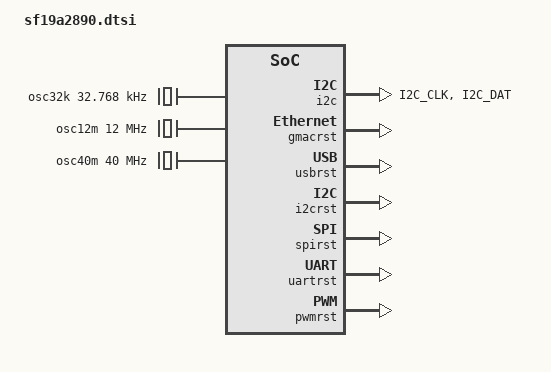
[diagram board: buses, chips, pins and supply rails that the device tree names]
#include <dt-bindings/clock/siflower,sf19a2890-clk.h>
#include <dt-bindings/gpio/gpio.h>
#include <dt-bindings/interrupt-controller/irq.h>
#include <dt-bindings/interrupt-controller/mips-gic.h>

/ {
	compatible = "siflower,sf19a2890";
	#address-cells = <1>;
	#size-cells = <1>;


	aliases {
		serial0 = &uart0;
		serial1 = &uart1;
		serial2 = &uart2;
	};

	chosen {
		bootargs = "earlycon";
	};

	reserved-memory {
		#address-cells = <1>;
		#size-cells = <1>;
		ranges;

		wlan24_dsp: wlandsp@1f00000 {
			reg = <0x01f00000 0x200000>;
		};

		wlan5_dsp: wlandsp@2100000 {
			reg = <0x02100000 0x200000>;
		};
	};

	cpus {
		#address-cells = <1>;
		#size-cells = <0>;

		cpu@0 {
			device_type = "cpu";
			compatible = "mti,interaptiv";
			reg = <0>;
			clocks = <&clk CLK_MUXDIV_CPU>;
			clock-names = "cpu";
			clock-latency = <0>;
		};

		cpu@1 {
			device_type = "cpu";
			compatible = "mti,interaptiv";
			reg = <1>;
			clocks = <&clk CLK_MUXDIV_CPU>;
			clock-names = "cpu";
			clock-latency = <0>;
		};
		cpu@2 {
			device_type = "cpu";
			compatible = "mti,interaptiv";
			reg = <2>;
			clocks = <&clk CLK_MUXDIV_CPU>;
			clock-names = "cpu";
			clock-latency = <0>;
		};
		cpu@3 {
			device_type = "cpu";
			compatible = "mti,interaptiv";
			reg = <3>;
			clocks = <&clk CLK_MUXDIV_CPU>;
			clock-names = "cpu";
			clock-latency = <0>;
		};
	};

	osc32k: oscillator-32k {
		compatible = "fixed-clock";
		clock-frequency = <32768>;
		#clock-cells = <0>;
		clock-output-names = "osc32k";
	};

	osc12m: oscillator-12m {
		compatible = "fixed-clock";
		clock-frequency = <12000000>;
		#clock-cells = <0>;
		clock-output-names = "osc12m";
	};

	osc40m: oscillator-40m {
		compatible = "fixed-clock";
		clock-frequency = <40000000>;
		#clock-cells = <0>;
		clock-output-names = "osc40m";
	};

	soc {
		#address-cells = <1>;
		#size-cells = <1>;
		compatible = "simple-bus";
		ranges;
		interrupt-parent = <&gic>;

		gmac: ethernet@10800000 {
			compatible = "siflower,sf19a2890-gmac", "snps,dwmac";
			reg = <0x10800000 0x200000>,
				<0x19e04440 0x10>;
			interrupts = <GIC_SHARED 32 IRQ_TYPE_LEVEL_HIGH>,
					<GIC_SHARED 34 IRQ_TYPE_LEVEL_HIGH>,
					<GIC_SHARED 33 IRQ_TYPE_LEVEL_HIGH>;
			interrupt-names = "macirq", "eth_wake_irq", "eth_lpi";
			clocks = <&gmacclk 0>, <&gmacclk 1>, <&gmacclk 3>, <&gmacclk 2>;
			clock-names = "stmmaceth", "pclk", "ptp_ref", "gmac_byp_ref";
			resets = <&gmacrst 0>;
			reset-names = "stmmaceth";
			pinctrl-names = "default";
			pinctrl-0 = <&rgmii_pins>, <&mdio_pins>;
			status = "disabled";

			mdio: mdio {
				compatible = "snps,dwmac-mdio";
				#address-cells = <1>;
				#size-cells = <0>;
			};
		};

		wlan_rf: phy@11c00000{
			compatible = "siflower,sf19a2890-rf";
			reg = <0x11c00000 0x600000>;
			interrupts = <GIC_SHARED 187 IRQ_TYPE_LEVEL_HIGH>;
			clocks = <&rfclk 1>, <&rfclk 2>, <&rfclk 3>;
			clock-names = "axi", "boot", "lp";
			resets = <&rfrst 0>;
			pinctrl-names = "default";
			pinctrl-0 = <&wlan_pins>;
			status = "disabled";
		};

		usb: usb@17000000 {
			compatible = "siflower,sf19a2890-usb";
			reg = <0x17000000 0x40000>;
			interrupts = <GIC_SHARED 128 IRQ_TYPE_LEVEL_HIGH>;
			clocks = <&usbclk 0>;
			clock-names = "otg";
			resets = <&usbrst 0>;
			reset-names = "dwc2";
			dr_mode = "otg";
			phys = <&usb_phy>;
			phy-names = "usb2-phy";
			g-np-tx-fifo-size = <768>;
			status = "disabled";
		};

		i2c: i2c@18100000 {
			compatible = "snps,designware-i2c";
			reg = <0x18100000 0x1000>;
			interrupts = <GIC_SHARED 217 IRQ_TYPE_LEVEL_HIGH>;
			clocks = <&i2cclk 0>;
			clock-names = "ref";
			resets = <&i2crst 0>;
			pinctrl-names = "default";
			pinctrl-0 = <&i2c0_pins>;
		};

		spi: spi@18202000 {
			compatible = "arm,pl022", "arm,primecell";
			reg = <0x18202000 0x1000>;
			cs-gpios = <&gpio 8 GPIO_ACTIVE_LOW>;
			clocks = <&spiclk 1>, <&spiclk 0>;
			clock-names = "sspclk", "apb_pclk";
			interrupts = <GIC_SHARED 225 IRQ_TYPE_LEVEL_HIGH>;
			resets = <&spirst 0>;
			#address-cells = <1>;
			#size-cells = <0>;
			pinctrl-names = "default";
			pinctrl-0 = <&spi_pins>;
			status = "disabled";
		};

		uart0: serial@18300000 {
			compatible = "arm,pl011", "arm,primecell";
			reg = <0x18300000 0x1000>;
			interrupts = <GIC_SHARED 226 IRQ_TYPE_LEVEL_HIGH>;
			clocks = <&uartclk 3>, <&uartclk 0>;
			clock-names = "uartclk", "apb_pclk";
			resets = <&uartrst 0>;
			pinctrl-names = "default";
			pinctrl-0 = <&uart0_pins>;
			status = "disabled";
		};

		uart1: serial@18301000 {
			compatible = "arm,pl011", "arm,primecell";
			reg = <0x18301000 0x1000>;
			interrupts = <GIC_SHARED 227 IRQ_TYPE_LEVEL_HIGH>;
			clocks = <&uartclk 4>, <&uartclk 1>;
			clock-names = "uartclk", "apb_pclk";
			resets = <&uartrst 1>;
			pinctrl-names = "default";
			pinctrl-0 = <&uart1_pins>;
			status = "disabled";
		};

		uart2: serial@18302000 {
			compatible = "arm,pl011", "arm,primecell";
			reg = <0x18302000 0x1000>;
			interrupts = <GIC_SHARED 228 IRQ_TYPE_LEVEL_HIGH>;
			clocks = <&uartclk 5>, <&uartclk 2>;
			clock-names = "uartclk", "apb_pclk";
			resets = <&uartrst 2>;
			pinctrl-names = "default";
			pinctrl-0 = <&uart2_pins>;
			status = "disabled";
		};

		watchdog: watchdog@18700000 {
			compatible = "snps,dw-wdt";
			reg = <0x18700000 0x1000>;
			interrupts = <GIC_SHARED 238 IRQ_TYPE_LEVEL_HIGH>;
			clocks = <&wdtclk 0>;
			resets = <&wdtrst 0>;
		};

		gpio: gpio@19d00000 {
			compatible = "siflower,sf19a2890-gpio";
			reg=<0x19d00000 0x100000>;
			interrupts = <GIC_SHARED 246 IRQ_TYPE_LEVEL_HIGH>,
				     <GIC_SHARED 247 IRQ_TYPE_LEVEL_HIGH>,
				     <GIC_SHARED 248 IRQ_TYPE_LEVEL_HIGH>,
				     <GIC_SHARED 249 IRQ_TYPE_LEVEL_HIGH>;
			clocks = <&gpioclk 0>;
			resets = <&gpiorst 0>;

			gpio-controller;
			#gpio-cells = <2>;
			gpio-ranges = <&pinctrl 0 0 49>;

			interrupt-controller;
			#interrupt-cells = <2>;
		};

		clk: clock-controller@19e01000 {
			compatible = "siflower,sf19a2890-clk";
			reg = <0x19e01000 0x800>;
			clocks = <&osc12m>, <&osc40m>;
			clock-names = "osc12m", "osc40m";
			#clock-cells = <1>;
		};

		brom_sysm: syscon@19e02000 {
			compatible = "syscon", "simple-mfd";
			reg = <0x19e02000 0x100>;

			reboot {
				compatible = "syscon-reboot";
				offset = <0x30>;
				value = <0x1>;
			};
		};

		gmacrst: reset-controller@19e04400 {
			compatible = "siflower,sf19a2890-periph-reset";
			reg = <0x19e04400 0x4>;
			#reset-cells = <1>;
			siflower,reset-masks = <0x3>;
		};

		gmacclk: clock-controller@19e04404 {
			compatible = "siflower,sf19a2890-periph-clk";
			reg = <0x19e04404 0xc>;
			clocks = <&clk CLK_MUXDIV_BUS1>, <&clk CLK_MUXDIV_CPU>, <&clk CLK_MUXDIV_GMAC_BYP_REF>, <&clk CLK_MUXDIV_ETH_TSU>;
			clock-output-names = "gmac", "gmac_pclk", "gmac_byp_ref", "ethtsu";
			#clock-cells = <1>;
		};

		wlan24rst: reset-controller@19e08000 {
			compatible = "siflower,sf19a2890-periph-reset";
			reg = <0x19e08000 0x4>;
			#reset-cells = <1>;
			siflower,reset-masks = <0x7>;
		};

		wlan24clk: clock-controller@19e08004 {
			compatible = "siflower,sf19a2890-periph-clk";
			reg = <0x19e08004 0xc>;
			clocks = <&clk CLK_MUXDIV_CPU>, <&clk CLK_MUXDIV_BUS2>, <&clk CLK_MUXDIV_WLAN24_PLF>;
			clock-output-names = "wlan24_axis", "wlan24_axim", "wlan24_plf";
			#clock-cells = <1>;
		};

		rfrst: reset-controller@19e08800 {
			compatible = "siflower,sf19a2890-periph-reset";
			reg = <0x19e08800 0x4>;
			#reset-cells = <1>;
			siflower,reset-masks = <0x7>;
		};

		rfclk: clock-controller@19e08804 {
			compatible = "siflower,sf19a2890-periph-clk";
			reg = <0x19e08804 0xc>;
			clocks = <&clk CLK_MUXDIV_BUS2>, <&clk CLK_MUXDIV_CPU>, <&osc12m>, <&osc32k>;
			clock-output-names = "rf_dft", "rf_axis", "rf_boot", "rf_lp";
			#clock-cells = <1>;
		};

		usbrst: reset-controller@19e0c000 {
			compatible = "siflower,sf19a2890-periph-reset";
			reg = <0x19e0c000 0x4>;
			#reset-cells = <1>;
			siflower,reset-masks = <0x7 0x8 0x10>;
		};

		usbclk: clock-controller@19e0c004 {
			compatible = "siflower,sf19a2890-periph-clk";
			reg = <0x19e0c004 0xc>;
			clocks = <&clk CLK_MUXDIV_BUS3>, <&clk CLK_MUXDIV_CPU>, <&clk CLK_MUXDIV_USBPHY_REF>;
			clock-output-names = "usb", "usb_axim", "usbphy_ref";
			siflower,valid-gates = <0xd>;
			siflower,critical-gates = <0x4>;
			#clock-cells = <1>;
		};

		usb_phy: usb-phy@19e0c040 {
			compatible = "siflower,sf19a2890-usb-phy";
			reg = <0x19e0C040 0x60>;
			clocks = <&usbclk 2>;
			resets = <&usbrst 1>, <&usbrst 2>;
			reset-names = "power_on_rst", "usb_phy_rst";
			#phy-cells = <0>;
			status = "disabled";
		};

		wlan5rst: reset-controller@19e0c400 {
			compatible = "siflower,sf19a2890-periph-reset";
			reg = <0x19e0c400 0x4>;
			#reset-cells = <1>;
			siflower,reset-masks = <0x7>;
		};

		wlan5clk: clock-controller@19e0c404 {
			compatible = "siflower,sf19a2890-periph-clk";
			reg = <0x19e0c404 0xc>;
			clocks = <&clk CLK_MUXDIV_CPU>, <&clk CLK_MUXDIV_BUS2>, <&clk CLK_MUXDIV_WLAN5_PLF>;
			clock-output-names = "wlan5_axis", "wlan5_axim", "wlan5_plf";
			#clock-cells = <1>;
		};

		i2crst: reset-controller@19e24400 {
			compatible = "siflower,sf19a2890-periph-reset";
			reg = <0x19e24400 0x4>;
			#reset-cells = <1>;
			siflower,num-resets = <1>;
		};

		i2cclk: clock-controller@19e24404 {
			compatible = "siflower,sf19a2890-periph-clk";
			reg = <0x19e24404 0xc>;
			clocks = <&clk CLK_MUXDIV_PBUS>;
			clock-output-names = "i2c0";
			#clock-cells = <1>;
		};

		spirst: reset-controller@19e24800 {
			compatible = "siflower,sf19a2890-periph-reset";
			reg = <0x19e24800 0x4>;
			#reset-cells = <1>;
			siflower,reset-masks = <0x30>;
		};

		spiclk: clock-controller@19e24804 {
			compatible = "siflower,sf19a2890-periph-clk";
			reg = <0x19e24804 0xc>;
			clocks = <&clk CLK_MUXDIV_PBUS>, <&clk CLK_MUXDIV_PBUS>;
			clock-output-names = "spi_apb", "spi_ssp";
			siflower,valid-gates = <0x30>;
			#clock-cells = <1>;
		};

		uartrst: reset-controller@19e24c00 {
			compatible = "siflower,sf19a2890-periph-reset";
			reg = <0x19e24c00 0x4>;
			#reset-cells = <1>;
			siflower,reset-masks = <0x11 0x22 0x44>;
		};

		uartclk: clock-controller@19e24c04 {
			compatible = "siflower,sf19a2890-periph-clk";
			reg = <0x19e24c04 0xc>;
			clocks = <&clk CLK_MUXDIV_PBUS>, <&clk CLK_MUXDIV_PBUS>, <&clk CLK_MUXDIV_PBUS>,
				 <&clk CLK_MUXDIV_UART>, <&clk CLK_MUXDIV_UART>, <&clk CLK_MUXDIV_UART>;
			clock-output-names = "uart0_apb", "uart1_apb", "uart2_apb",
					     "uart0", "uart1","uart2";
			siflower,valid-gates = <0x77>;
			siflower,critical-gates = <0x11>;
			#clock-cells = <1>;
		};

		pwmrst: reset-controller@19e25400 {
			compatible = "siflower,sf19a2890-periph-reset";
			reg = <0x19e25400 0x4>;
			#reset-cells = <1>;
			siflower,num-resets = <1>;
		};

		pwmclk: clock-controller@19e25404 {
			compatible = "siflower,sf19a2890-periph-clk";
			reg = <0x19e25404 0xc>;
			clocks = <&clk CLK_MUXDIV_PBUS>;
			clock-output-names = "pwm";
			#clock-cells = <1>;
		};

		timerrst: reset-controller@19e25800 {
			compatible = "siflower,sf19a2890-periph-reset";
			reg = <0x19e25800 0x4>;
			#reset-cells = <1>;
			siflower,num-resets = <1>;
		};

		timerclk: clock-controller@19e25804 {
			compatible = "siflower,sf19a2890-periph-clk";
			reg = <0x19e25804 0xc>;
			clocks = <&clk CLK_MUXDIV_PBUS>;
			clock-output-names = "timer";
			#clock-cells = <1>;
		};

		wdtrst: reset-controller@19e25c00 {
			compatible = "siflower,sf19a2890-periph-reset";
			reg = <0x19e25c00 0x4>;
			#reset-cells = <1>;
			siflower,num-resets = <1>;
		};

		wdtclk: clock-controller@19e25c04 {
			compatible = "siflower,sf19a2890-periph-clk";
			reg = <0x19e25c04 0xc>;
			clocks = <&clk CLK_MUXDIV_PBUS>;
			clock-output-names = "wdt";
			#clock-cells = <1>;
		};

		gpiorst: reset-controller@19e2b400 {
			compatible = "siflower,sf19a2890-periph-reset";
			reg = <0x19e2b400 0x4>;
			#reset-cells = <1>;
			siflower,num-resets = <1>;
		};

		gpioclk: clock-controller@19e2b404 {
			compatible = "siflower,sf19a2890-periph-clk";
			reg = <0x19e2b404 0xc>;
			clocks = <&clk CLK_MUXDIV_PBUS>;
			clock-output-names = "gpio";
			#clock-cells = <1>;
		};

		pinctrl: pinctrl@19e3fc00 {
			compatible = "siflower,sf19a2890-pinctrl";
			reg = <0x19e3fc00 0x400>;

			jtag_pins: jtag-pins {
				tdo {
					pins = "JTAG_TDO";
					function = "func0";
					bias-disable;
				};

				input-pins {
					pins = "JTAG_TDI", "JTAG_TMS", "JTAG_TCK";
					function = "func0";
					input-enable;
					bias-disable;
				};

				trst {
					pins = "JTAG_RST";
					function = "func0";
					input-enable;
					bias-pull-down;
				};
			};

			spi_pins: spi-pins {
				sck {
					pins = "SPI_CLK";
					function = "func0";
					bias-disable;
				};

				mosi {
					pins = "SPI_TXD";
					function = "func0";
					bias-pull-down;
				};

				miso {
					pins = "SPI_RXD";
					function = "func0";
					input-enable;
					bias-pull-down;
				};

				cs {
					pins = "SPI_CSN";
					bias-pull-up;
				};
			};

			uart0_pins: uart0-pins {
				tx {
					pins = "UART_TX";
					function = "func0";
					bias-pull-up;
				};

				rx {
					pins = "UART_RX";
					function = "func0";
					input-enable;
					bias-pull-up;
				};
			};

			uart0_rtscts: uart0-rtscts-pins {
				cts {
					pins = "I2C_DAT";
					function = "func0";
					input-enable;
					bias-pull-up;
				};

				rts {
					pins = "I2C_CLK";
					function = "func0";
					bias-pull-up;
				};
			};

			uart1_pins: uart1-pins {
				tx {
					pins = "JATG_TDO";
					function = "func1";
					bias-pull-up;
				};

				rx {
					pins = "JATG_TDI";
					function = "func1";
					input-enable;
					bias-pull-up;
				};
			};

			uart1_rtscts: uart1-rtscts-pins {
				cts {
					pins = "JTAG_TMS";
					function = "func1";
					input-enable;
					bias-pull-up;
				};

				rts {
					pins = "JTAG_TCK";
					function = "func1";
					bias-pull-up;
				};
			};

			uart2_pins: uart2-pins {
				tx {
					pins = "I2C_DAT";
					function = "func1";
					bias-pull-up;
				};

				rx {
					pins = "I2C_CLK";
					function = "func1";
					input-enable;
					bias-pull-up;
				};
			};

			rgmii_pins: rgmii-pins {
				tx-pins {
					pins =  "RGMII_TXCLK", "RGMII_TXD0",
						"RGMII_TXD1", "RGMII_TXD2",
						"RGMII_TXD3", "RGMII_TXCTL";
					function = "func0";
					bias-disable;
				};

				rx-pins {
					pins = "RGMII_RXCLK", "RGMII_RXD0",
						"RGMII_RXD1", "RGMII_RXD2",
						"RGMII_RXD3", "RGMII_RXCTL";
					function = "func0";
					input-enable;
					bias-disable;
				};
			};

			mdio_pins: mdio-pins {
				pins {
					pins = "RGMII_MDC", "RGMII_MDIO";
					function = "func0";
					input-enable;
					bias-pull-up;
				};
			};

			wlan_pins: wlan-pins {
				pins {
					pins = "HB0_PA_EN", "HB0_LNA_EN",
						"HB0_SW_CTRL0", "HB0_SW_CTRL1",
						"HB1_PA_EN", "HB1_LNA_EN",
						"HB1_SW_CTRL0", "HB1_SW_CTRL1",
						"LB0_PA_EN", "LB0_LNA_EN",
						"LB0_SW_CTRL0", "LB0_SW_CTRL1",
						"LB1_PA_EN", "LB1_LNA_EN",
						"LB1_SW_CTRL0", "LB1_SW_CTRL1";
					function = "func0";
				};
			};


			i2c0_pins: i2c0-pins {
				pins {
					pins = "I2C_CLK", "I2C_DAT";
					function = "func2";
					input-enable;
					bias-pull-up;
				};
			};
		};

		gic: interrupt-controller@1bdc0000 {
			compatible = "mti,gic";
			reg = <0x1bdc0000 0x20000>;
			interrupt-controller;
			#interrupt-cells = <3>;
			mti,reserved-ipi-vectors = <0 8>;

			timer {
				compatible = "mti,gic-timer";
				interrupts = <GIC_LOCAL 1 IRQ_TYPE_NONE>;
				clocks = <&clk CLK_MUXDIV_CPU>;
			};
		};
	};
};
